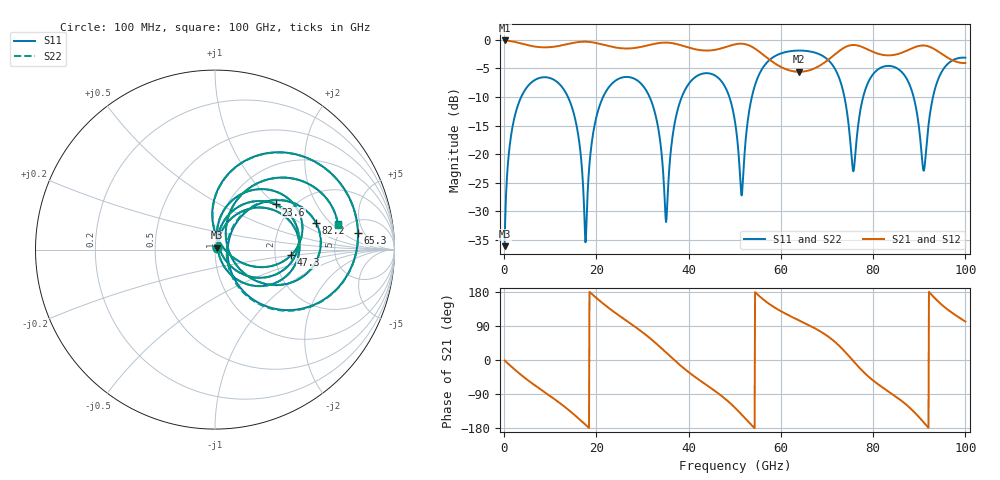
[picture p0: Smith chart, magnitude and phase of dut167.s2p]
! Touchstone file exported from HFSS 2026.1.0
!  File:  C:/ffzhzh/LocalFiles/Ansys_Project_Files/temp_test_TSV_RDL_167_1783466469_7600.aedt
!  Generated:  07:31:50 AM Jul  8, 2026
!  Design:  TSV_RDL
!  Project:  temp_test_TSV_RDL_167_1783466469_7600
! Variables:
!  h_bsmrdl = 3.92um
!  h_ox = 20um
!  h_rdl = 5um
!  h_sub = 67.36um
!  h_tmrdl = 4.12um
!  h_tsv = 67.36um
!  h_via = 3um
!  l_bsmrdl = 401.04um
!  l_sub = 3294.66um
!  l_tmrdl = 385.34um
!  m_sub = 200um
!  pitch = 53.36um
!  r_tsv = 12.46um
!  s_tmrdl = 10um
!  w_bsmrdl = 29.38um
!  w_sub = 500um
!  w_tmrdl = 20.68um
!  x_tsv_center1 = 395.68um
!  x_tsv_center2 = 826.1um
!  x_tsv_center3 = 1232.12um
!  x_tsv_center4 = 1662.54um
!  x_tsv_center5 = 2068.56um
!  x_tsv_center6 = 2498.98um
# GHz S MA R 50.000000
! Terminal data exported
! Port[1] = TM_RDL1_1_T1
! Port[2] = TM_RDL5_1_T1
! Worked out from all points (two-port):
!   1000 points, 100 MHz to 100 GHz, reference 50 ohm
!   highest |S21| = -0.10 dB at 100 MHz (marker M1); lowest = -5.6 dB at 64 GHz (marker M2)
!   |S21| within 3 dB of the highest: start of sweep to 56.95 GHz; 70.86 GHz to 96.12 GHz (25.26 GHz wide, 30.3 % of centre)
!   lowest |S11| = -36.1 dB at 100 MHz (marker M3), VSWR 1.03, Z = 51.2 + j1.09 ohm
!   |S11| at or under -10 dB: 13.84 GHz to 21.44 GHz (7.604 GHz wide, 43.1 % of centre); 31.54 GHz to 38.51 GHz (6.972 GHz wide, 19.9 % of centre); 48.83 GHz to 53.7 GHz (4.87 GHz wide, 9.5 % of centre) (the widest 3 of 6)
!   |S22| runs from -36.1 to -1.9 dB; largest |S21 - S12| = 5.4e-13
!   S11 on the Smith chart (normalised r, x): 100 MHz: 1.02, +0.02; 23.6 GHz: 1.64, +1.01; 47.3 GHz: 2.46, -0.19; 65.3 GHz: 7.06, +3.77; 82.2 GHz: 3.12, +1.39; 100 GHz: 4.30, +2.35
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0.1  0.01566 42.8  0.9887 -1.2  0.9887 -1.2  0.01566 42.8
! Gamma 0 0 0 0
! Port Impedance 50 0 50 0
2  0.1895 63.0  0.9659 -22.1  0.9659 -22.1  0.1895 63.0
6.3  0.4363 23.9  0.879 -63.7  0.879 -63.7  0.4363 23.8
16.8  0.081 -61.7  0.9626 -161.6  0.9626 -161.6  0.08087 -62.0
17.7  0.01715 24.3  0.9638 -171.5  0.9638 -171.5  0.01672 24.9
23.6  0.4226 36.5  0.8661 128.8  0.8661 128.8  0.4227 36.6
33.4  0.1692 -44.4  0.9364 38.8  0.9364 38.8  0.1693 -44.5
35.1  0.02544 16.3  0.9471 19.8  0.9471 19.8  0.02494 15.9
38.9  0.3442 64.4  0.8841 -21.4  0.8841 -21.4  0.3441 64.5
47.3  0.4247 -4.3  0.8479 -96.4  0.8479 -96.4  0.4249 -4.3
50.1  0.1868 -25.8  0.9149 -126.6  0.9149 -126.6  0.1872 -25.6
51.5  0.04349 36.4  0.9261 -144.2  0.9261 -144.2  0.04435 36.0
55.2  0.4902 74.5  0.7945 170.0  0.7945 170.0  0.4901 74.3
64  0.8065 13.9  0.5258 104.2  0.5258 104.2  0.8065 13.7
65.3  0.8021 6.8  0.5316 96.5  0.5316 96.5  0.8021 6.6
66.7  0.7864 -1.1  0.551 87.9  0.551 87.9  0.7864 -1.3
72.6  0.4683 -44.7  0.7968 38.0  0.7968 38.0  0.468 -45.3
75.7  0.07071 -1.7  0.9028 -2.9  0.9028 -2.9  0.06537 -2.0
82.2  0.5828 14.6  0.7379 -73.7  0.7379 -73.7  0.5822 14.8
83.4  0.5921 5.8  0.7318 -83.7  0.7318 -83.7  0.5916 6.0
91  0.07165 18.9  0.893 -165.1  0.893 -165.1  0.07231 19.1
100  0.6988 11.6  0.6279 101.4  0.6279 101.4  0.6987 11.4
